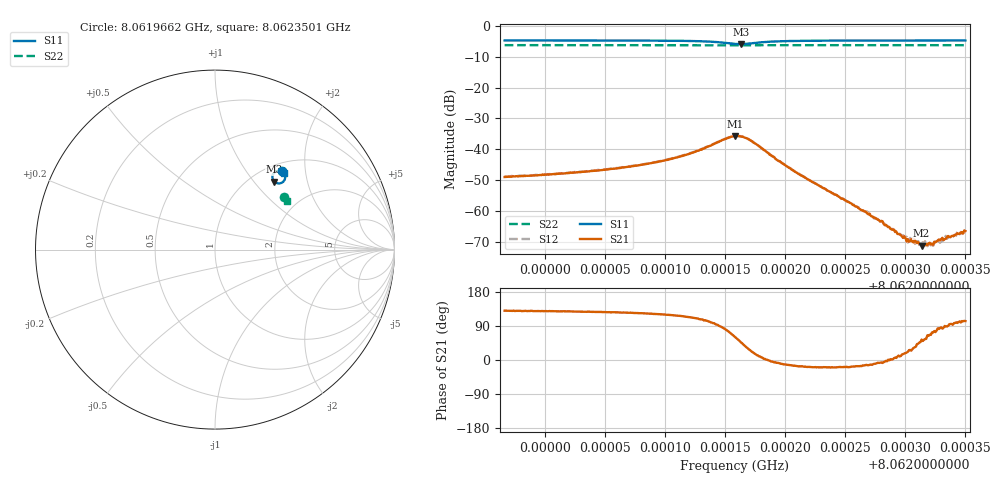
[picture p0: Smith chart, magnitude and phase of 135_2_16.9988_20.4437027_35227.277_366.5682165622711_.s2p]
#  HZ  S  RI  R  50.00
! Rohde & Schwarz Vector Network Analyzer
! Rohde-Schwarz,ZNB20-2Port,1311601062101988,3.16
! Created: UTC 3/20/2024, 10:58:06 PM
! freq[Hz]  re:S11  im:S11  re:S21  im:S21  re:S12  im:S12  re:S22  im:S22
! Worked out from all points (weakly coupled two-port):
!   401 points, 8.0619662 GHz to 8.0623501 GHz, reference 50 ohm
!   highest |S21| = -35.67 dB at 8.0621581 GHz (marker M1); lowest = -71.0 dB at 8.0623136 GHz (marker M2)
!   lowest |S11| = -6.0 dB at 8.0621629 GHz (marker M3), VSWR 3.02, Z = 63.2 + j64 ohm
!   |S11| at or under -10 dB: nowhere
!   |S22| runs from -6.4 to -6.3 dB; largest |S21 - S12| = 0.0012
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8.06196622e9  0.3741 0.4374  -0.00232 0.00274  -0.00215 0.00292  0.3866 0.2907
8.06203051e9  0.38 0.4317  -0.00263 0.00344  -0.00247 0.00364  0.3889 0.2875
8.06206794e9  0.3839 0.4264  -0.00297 0.00426  -0.00274 0.00447  0.3903 0.2857
8.0620948e9  0.3876 0.42  -0.00326 0.0055  -0.00297 0.00572  0.3911 0.284
8.06212071e9  0.391 0.4076  -0.00333 0.00794  -0.00286 0.00821  0.392 0.2822
8.06214278e9  0.3842 0.383  -0.000773 0.0128  -0.000118 0.0129  0.3919 0.2802
8.06215814e9  0.3465 0.3698  0.00803 0.0144  0.00888 0.0139  0.3907 0.2796
8.06216294e9  0.3308 0.3785  0.0111 0.0119  0.0119 0.0112  0.3901 0.2801
8.06217061e9  0.3199 0.403  0.0127 0.00622  0.0132 0.00534  0.3904 0.281
8.06219364e9  0.3438 0.4379  0.00658 -0.000864  0.00664 -0.00131  0.3926 0.2809
8.06222243e9  0.3628 0.4391  0.00282 -0.000956  0.0028 -0.00111  0.3943 0.2791
8.06226945e9  0.3747 0.4349  0.000867 -0.000213  0.000903 -0.000268  0.3964 0.2768
8.06228672e9  0.3773 0.4335  0.00056 -8.76e-06  0.000565 -5.42e-05  0.3968 0.2759
8.06230208e9  0.3792 0.4321  0.000333 0.00013  0.0003 9.5e-05  0.3975 0.2752
8.06230592e9  0.3796 0.4319  0.000285 0.000156  0.000332 0.000153  0.3975 0.2748
8.06230975e9  0.3801 0.4316  0.00023 0.000207  0.000269 0.000188  0.3977 0.2748
8.06231359e9  0.3806 0.4314  0.000165 0.000227  0.000228 0.000199  0.3978 0.2744
8.06231935e9  0.3811 0.431  0.000136 0.000272  0.000131 0.000257  0.398 0.2742
8.06232511e9  0.3818 0.4305  8.97e-05 0.000305  9.9e-05 0.000312  0.3981 0.274
8.06233374e9  0.3827 0.4299  8.35e-06 0.000363  2.27e-05 0.000402  0.3984 0.2734
8.06233662e9  0.3828 0.4298  -2.73e-05 0.000387  1.02e-05 0.000364  0.3986 0.2733
8.06235006e9  0.3841 0.4288  -0.000106 0.000471  -0.000113 0.000463  0.399 0.2726
